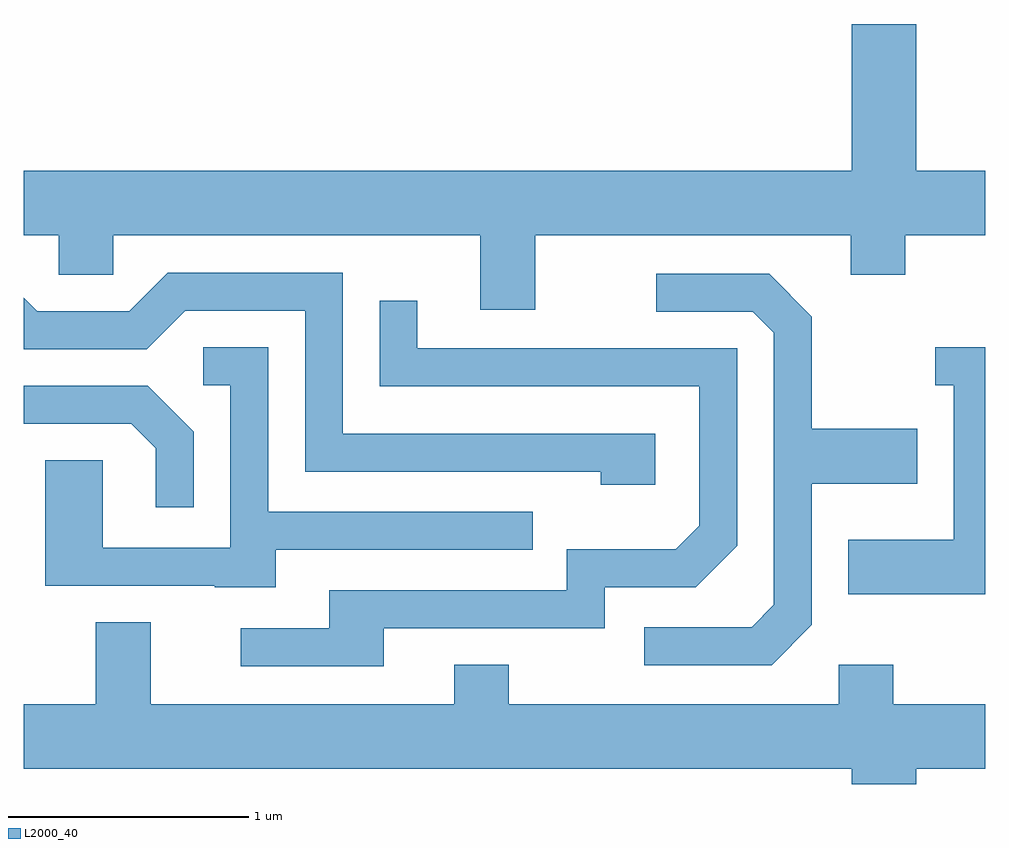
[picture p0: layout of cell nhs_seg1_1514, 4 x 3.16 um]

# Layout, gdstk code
import gdstk
lib = gdstk.Library(unit=1e-6, precision=1e-09)
def P(c, l, *ps):  # polygons
    for p in ps: c.add(gdstk.Polygon(p, *l))
L2000_40 = (2000, 40)

nhs_seg1_1514 = lib.new_cell('nhs_seg1_1514')
P(nhs_seg1_1514, L2000_40, [(231.611,923.996),(231.756,923.996),(231.756,923.831),(231.984,923.831),(231.984,923.996),(233.511,923.996),(233.511,923.686),(233.739,923.686),(233.739,923.996),(235.051,923.996),(235.051,923.831),(235.279,923.831),(235.279,923.996),(235.611,923.996),(235.611,924.264),(235.324,924.264),(235.324,924.874),(235.056,924.874),(235.056,924.264),(231.611,924.264)],
  [(234.239,923.169),(232.939,923.169),(232.939,923.839),(232.209,923.839),(232.049,923.679),(231.667,923.679),(231.611,923.735),(231.611,923.521),(232.122,923.521),(232.282,923.681),(232.781,923.681),(232.781,923.011),(234.011,923.011),(234.011,922.956),(234.239,922.956)],
  [(234.889,922.374),(234.889,922.961),(235.329,922.961),(235.329,923.189),(234.889,923.189),(234.889,923.657),(234.712,923.834),(234.243,923.834),(234.243,923.676),(234.644,923.676),(234.731,923.589),(234.731,922.457),(234.639,922.364),(234.193,922.364),(234.193,922.206),(234.722,922.206)],
  [(233.109,922.361),(234.029,922.361),(234.029,922.531),(234.407,922.531),(234.579,922.704),(234.579,923.524),(233.249,923.524),(233.249,923.723),(233.091,923.723),(233.091,923.366),(234.421,923.366),(234.421,922.787),(234.324,922.689),(233.871,922.689),(233.871,922.519),(232.881,922.519),(232.881,922.359),(232.513,922.359),(232.513,922.201),(233.109,922.201)],
  [(232.659,922.686),(233.728,922.686),(233.728,922.844),(232.629,922.844),(232.629,923.529),(232.358,923.529),(232.358,923.371),(232.471,923.371),(232.471,922.694),(231.939,922.694),(231.939,923.059),(231.701,923.059),(231.701,922.536),(232.405,922.536),(232.405,922.531),(232.659,922.531)],
  [(235.611,923.529),(235.403,923.529),(235.403,923.371),(235.481,923.371),(235.481,922.729),(235.041,922.729),(235.041,922.501),(235.611,922.501)],
  [(232.319,923.177),(232.127,923.369),(231.611,923.369),(231.611,923.211),(232.059,923.211),(232.161,923.109),(232.161,922.863),(232.319,922.863)],
  [(235.324,921.776),(235.611,921.776),(235.611,922.044),(235.229,922.044),(235.229,922.209),(235.001,922.209),(235.001,922.044),(233.629,922.044),(233.629,922.209),(233.401,922.209),(233.401,922.044),(232.139,922.044),(232.139,922.384),(231.911,922.384),(231.911,922.044),(231.611,922.044),(231.611,921.776),(235.056,921.776),(235.056,921.712),(235.324,921.712)])

lib.write_gds('nhs_seg1_1514.gds')
